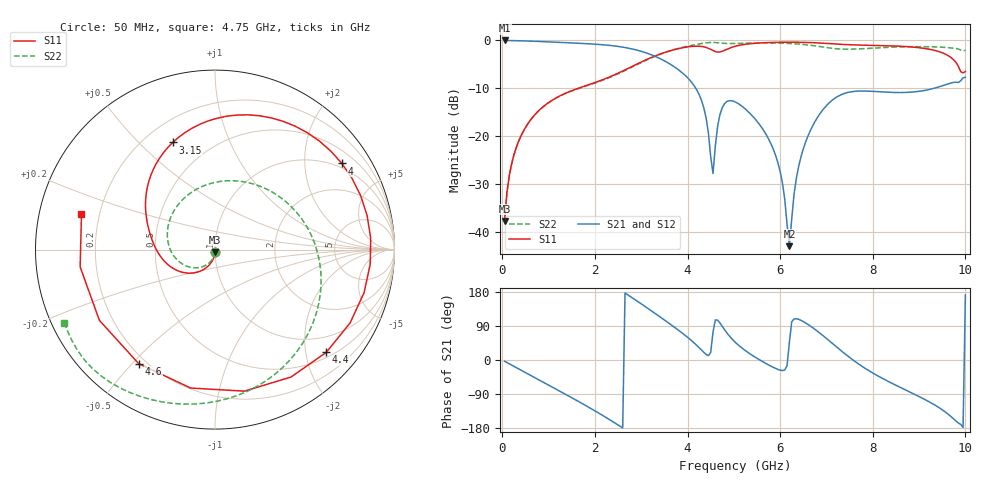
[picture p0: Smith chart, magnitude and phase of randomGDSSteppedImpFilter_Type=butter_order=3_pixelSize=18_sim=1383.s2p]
! freq	dB(S11)	phase(S11)	dB(S12)	phase(S12)
!  dB(S21)	phase(S21)	dB(S22)	phase(S22)
!S-par simulation data
#  GHz  S  DB  R 50
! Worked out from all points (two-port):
!   200 points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, 50 MHz to 10 GHz, reference 50 ohm
!   highest |S21| = -0.02 dB at 50 MHz (marker M1); lowest = -42.9 dB at 6.2 GHz (marker M2)
!   |S21| within 3 dB of the highest: start of sweep to 3.22 GHz
!   lowest |S11| = -37.7 dB at 50 MHz (marker M3), VSWR 1.03, Z = 50.1 - j1.31 ohm
!   |S11| at or under -10 dB: start of sweep to 1.639 GHz
!   |S22| runs from -37.7 to -0.4 dB; largest |S21 - S12| = 0
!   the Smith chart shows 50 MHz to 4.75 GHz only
!   S11 on the Smith chart (normalised r, x): 50 MHz: 1.00, -0.03; 3.15 GHz: 0.31, +0.63; 4 GHz: 0.85, +3.03; 4.4 GHz: 0.61, -2.43; 4.6 GHz: 0.17, -0.52; 4.75 GHz: 0.13, +0.13
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0.05  -37.67 -86.2  -0.02 -3.4  -0.02 -3.4  -37.70 -87.0
0.5  -18.17 -118.7  -0.12 -33.2  -0.12 -33.2  -18.21 -127.8
1.75  -9.63 178.9  -0.65 -116.6  -0.65 -116.6  -9.70 126.5
2.5  -6.85 148.4  -1.26 -171.4  -1.26 -171.4  -6.97 47.0
3.15  -3.85 111.5  -2.76 135.7  -2.76 135.7  -3.94 -22.3
3.4  -2.87 92.9  -3.78 114.3  -3.78 114.3  -2.94 -46.4
4  -1.37 34.2  -7.78 60.0  -7.78 60.0  -1.23 -97.6
4.4  -1.47 -42.7  -16.13 14.7  -16.13 14.7  -0.52 -128.2
4.55  -2.12 -100.0  -27.77 73.5  -27.77 73.5  -0.43 -139.9
4.6  -2.33 -123.8  -22.05 105.8  -22.05 105.8  -0.45 -143.7
4.75  -2.27 165.1  -14.03 88.8  -14.03 88.8  -0.59 -153.9
5.05  -1.18 82.0  -12.93 44.5  -12.93 44.5  -0.64 -172.1
5.9  -0.42 -0.6  -23.94 -22.2  -23.94 -22.2  -0.56 129.3
6.2  -0.38 -18.5  -42.91 47.6  -42.91 47.6  -0.65 103.1
6.35  -0.39 -26.6  -28.74 109.1  -28.74 109.1  -0.74 88.0
6.7  -0.48 -44.2  -17.87 85.5  -17.87 85.5  -1.07 44.8
7.05  -0.67 -59.9  -13.11 51.8  -13.11 51.8  -1.56 -10.9
7.45  -0.90 -75.7  -10.89 11.4  -10.89 11.4  -1.85 -80.5
7.9  -1.01 -92.6  -10.59 -27.0  -10.59 -27.0  -1.66 -143.8
8.35  -1.12 -110.2  -10.83 -57.5  -10.83 -57.5  -1.44 171.3
9.5  -2.59 -179.8  -9.47 -131.3  -9.47 -131.3  -1.43 93.5
10  -6.50 72.2  -7.69 171.8  -7.69 171.8  -2.11 70.4
